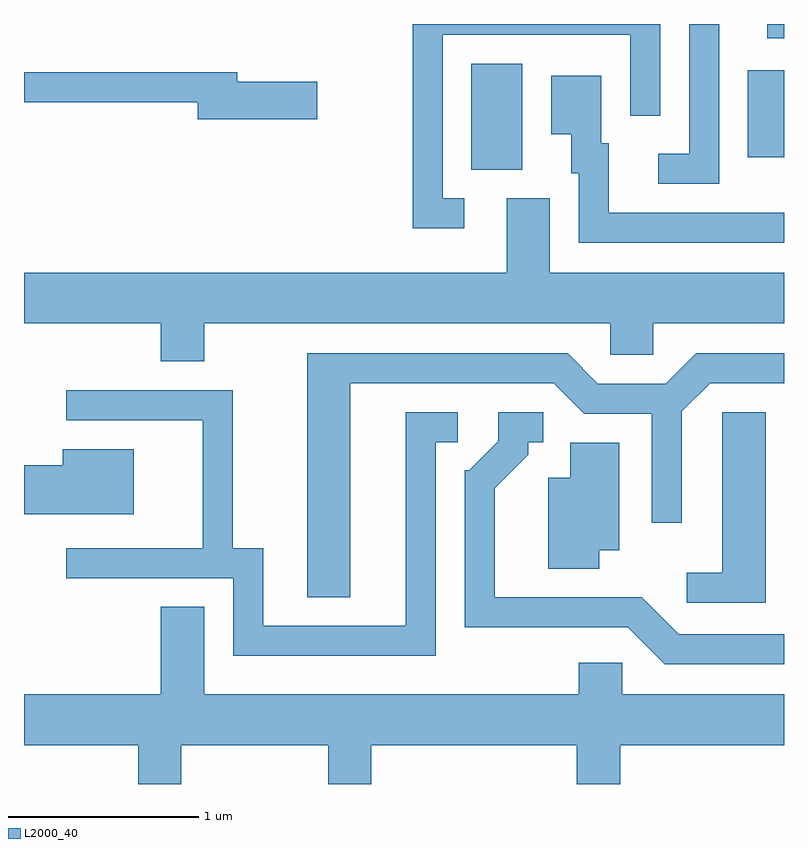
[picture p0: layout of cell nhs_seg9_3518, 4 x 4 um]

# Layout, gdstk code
import gdstk
lib = gdstk.Library(unit=1e-6, precision=1e-09)
def R(c, l, rs):  # rectangles x0, y0, x1, y1
    for r in rs: c.add(gdstk.rectangle(r[:2], r[2:], *l))
def P(c, l, *ps):  # polygons
    for p in ps: c.add(gdstk.Polygon(p, *l))
L2000_40 = (2000, 40)

nhs_seg9_3518 = lib.new_cell('nhs_seg9_3518')
R(nhs_seg9_3518, L2000_40, [(289.966,2063.666,290.234,2064.224), (291.421,2063.731,291.611,2064.189), (291.523,2064.356,291.611,2064.432)])
P(nhs_seg9_3518, L2000_40, [(289.928,2063.514),(289.814,2063.514),(289.814,2064.376),(290.801,2064.376),(290.801,2063.948),(290.959,2063.948),(290.959,2064.432),(289.656,2064.432),(289.656,2063.356),(289.928,2063.356)],
  [(291.269,2064.432),(291.111,2064.432),(291.111,2063.749),(290.948,2063.749),(290.948,2063.591),(291.269,2063.591)],
  [(289.154,2064.129),(288.734,2064.129),(288.734,2064.179),(287.611,2064.179),(287.611,2064.021),(288.526,2064.021),(288.526,2063.931),(289.154,2063.931)],
  [(291.611,2063.439),(290.689,2063.439),(290.689,2063.804),(290.649,2063.804),(290.649,2064.159),(290.386,2064.159),(290.386,2063.851),(290.491,2063.851),(290.491,2063.646),(290.531,2063.646),(290.531,2063.281),(291.611,2063.281)],
  [(288.559,2062.856),(290.696,2062.856),(290.696,2062.691),(290.924,2062.691),(290.924,2062.856),(291.611,2062.856),(291.611,2063.124),(290.379,2063.124),(290.379,2063.514),(290.151,2063.514),(290.151,2063.124),(287.611,2063.124),(287.611,2062.856),(288.331,2062.856),(288.331,2062.656),(288.559,2062.656)],
  [(289.329,2062.541),(290.399,2062.541),(290.559,2062.381),(290.916,2062.381),(290.916,2061.808),(291.074,2061.808),(291.074,2062.394),(291.222,2062.541),(291.611,2062.541),(291.611,2062.699),(291.149,2062.699),(290.989,2062.539),(290.632,2062.539),(290.472,2062.699),(289.101,2062.699),(289.101,2061.416),(289.329,2061.416)],
  [(289.779,2062.231),(289.893,2062.231),(289.893,2062.389),(289.621,2062.389),(289.621,2061.264),(288.869,2061.264),(288.869,2061.674),(288.709,2061.674),(288.709,2062.504),(287.833,2062.504),(287.833,2062.346),(288.551,2062.346),(288.551,2061.674),(287.833,2061.674),(287.833,2061.516),(288.711,2061.516),(288.711,2061.106),(289.779,2061.106)],
  [(291.514,2062.389),(291.286,2062.389),(291.286,2061.544),(291.098,2061.544),(291.098,2061.386),(291.514,2061.386)],
  [(291.611,2061.219),(291.057,2061.219),(290.862,2061.414),(290.089,2061.414),(290.089,2061.989),(290.264,2062.164),(290.264,2062.231),(290.343,2062.231),(290.343,2062.389),(290.106,2062.389),(290.106,2062.237),(289.954,2062.084),(289.931,2062.084),(289.931,2061.256),(290.789,2061.256),(290.984,2061.061),(291.611,2061.061)],
  [(290.639,2061.661),(290.744,2061.661),(290.744,2062.229),(290.486,2062.229),(290.486,2062.044),(290.371,2062.044),(290.371,2061.566),(290.639,2061.566)],
  [(288.189,2062.194),(287.816,2062.194),(287.816,2062.109),(287.611,2062.109),(287.611,2061.851),(288.189,2061.851)],
  [(288.439,2060.636),(289.211,2060.636),(289.211,2060.432),(289.439,2060.432),(289.439,2060.636),(290.521,2060.636),(290.521,2060.432),(290.749,2060.432),(290.749,2060.636),(291.611,2060.636),(291.611,2060.904),(290.759,2060.904),(290.759,2061.069),(290.531,2061.069),(290.531,2060.904),(288.559,2060.904),(288.559,2061.364),(288.331,2061.364),(288.331,2060.904),(287.611,2060.904),(287.611,2060.636),(288.211,2060.636),(288.211,2060.432),(288.439,2060.432)])

lib.write_gds('nhs_seg9_3518.gds')
